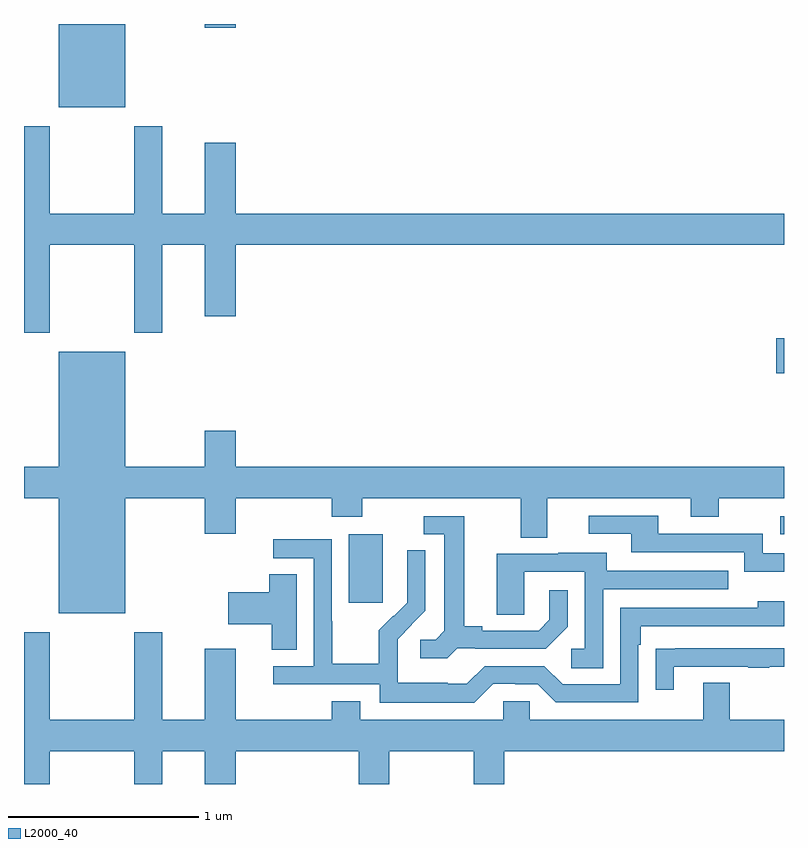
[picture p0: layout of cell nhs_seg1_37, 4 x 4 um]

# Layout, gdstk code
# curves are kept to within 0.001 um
import gdstk
lib = gdstk.Library(unit=1e-6, precision=1e-09)
def R(c, l, rs):  # rectangles x0, y0, x1, y1
    for r in rs: c.add(gdstk.rectangle(r[:2], r[2:], *l))
def P(c, l, *ps):  # polygons
    for p in ps: c.add(gdstk.Polygon(p, *l))
L2000_40 = (2000, 40)

nhs_seg1_37 = lib.new_cell('nhs_seg1_37')
R(nhs_seg1_37, L2000_40, [(112.709,579.153,112.888,579.514), (114.981,579.513,115,579.609), (114.96,580.361,115,580.544), (111.182,581.762,111.532,582.199), (111.95,582.18,112.114,582.199)])
P(nhs_seg1_37, L2000_40, [(111.135,581.036),(111.58,581.036),(111.58,580.575),(111.727,580.575),(111.727,581.036),(111.95,581.036),(111.95,580.662),(112.114,580.662),(112.114,581.036),(115,581.036),(115,581.2),(112.114,581.2),(112.114,581.575),(111.95,581.575),(111.95,581.2),(111.727,581.2),(111.727,581.662),(111.58,581.662),(111.58,581.2),(111.135,581.2),(111.135,581.662),(111,581.662),(111,580.575),(111.135,580.575)],
  [(111.532,579.704),(111.95,579.704),(111.95,579.516),(112.114,579.516),(112.114,579.704),(112.619,579.704),(112.619,579.605),(112.779,579.605),(112.779,579.704),(113.615,579.704),(113.615,579.496),(113.755,579.496),(113.755,579.704),(114.509,579.704),(114.509,579.605),(114.657,579.605),(114.657,579.704),(115,579.704),(115,579.868),(112.114,579.868),(112.114,580.057),(111.95,580.057),(111.95,579.868),(111.532,579.868),(111.532,580.474),(111.182,580.474),(111.182,579.868),(111,579.868),(111,579.704),(111.182,579.704),(111.182,579.098),(111.532,579.098)],
  [(115,579.414),(114.888,579.414),(114.888,579.516),(114.337,579.516),(114.337,579.612),(113.973,579.612),(113.973,579.516),(114.197,579.516),(114.197,579.42),(114.792,579.42),(114.792,579.317),(115,579.317)],
  [(113.28,578.913),(113.374,578.913),(113.374,578.91),(113.746,578.91),(113.862,579.026),(113.862,579.22),(113.765,579.22),(113.765,579.063),(113.708,579.006),(113.413,579.006),(113.413,579.029),(113.317,579.029),(113.317,579.609),(113.103,579.609),(113.103,579.513),(113.213,579.513),(113.213,579.005),(113.166,578.958),(113.085,578.958),(113.085,578.861),(113.228,578.861)],
  [(113.469,578.727),(113.585,578.727),(113.585,578.724),(113.703,578.724),(113.799,578.628),(114.234,578.628),(114.234,578.933),(114.247,578.933),(114.247,579.03),(115,579.03),(115,579.16),(114.863,579.16),(114.863,579.126),(114.138,579.126),(114.138,578.724),(113.835,578.724),(113.739,578.82),(113.424,578.82),(113.331,578.727),(113.231,578.727),(113.231,578.731),(112.968,578.731),(112.968,578.865),(112.966,578.865),(112.966,578.962),(113.112,579.11),(113.112,579.428),(113.016,579.428),(113.016,579.274),(113.018,579.274),(113.018,579.152),(112.947,579.081),(112.944,579.084),(112.867,579.007),(112.867,578.833),(112.623,578.833),(112.623,579.056),(112.62,579.056),(112.62,579.486),(112.311,579.486),(112.311,579.387),(112.524,579.387),(112.524,578.82),(112.311,578.82),(112.311,578.724),(112.872,578.724),(112.872,578.627),(113.369,578.627)],
  [(114.048,579.225),(114.707,579.225),(114.707,579.321),(114.067,579.321),(114.067,579.415),(113.813,579.415),(113.813,579.411),(113.489,579.411),(113.489,579.091),(113.634,579.091),(113.634,579.315),(113.952,579.315),(113.952,578.91),(113.88,578.91),(113.88,578.809),(114.048,578.809)],
  [(112.435,579.302),(112.292,579.302),(112.292,579.207),(112.074,579.207),(112.074,579.041),(112.304,579.041),(112.304,578.905),(112.435,578.905)],
  [(111.135,578.372),(111.58,578.372),(111.58,578.199),(111.727,578.199),(111.727,578.372),(111.95,578.372),(111.95,578.199),(112.114,578.199),(112.114,578.372),(112.763,578.372),(112.763,578.199),(112.923,578.199),(112.923,578.372),(113.368,578.372),(113.368,578.199),(113.528,578.199),(113.528,578.372),(115,578.372),(115,578.536),(114.715,578.536),(114.715,578.731),(114.575,578.731),(114.575,578.536),(113.661,578.536),(113.661,578.634),(113.523,578.634),(113.523,578.536),(112.771,578.536),(112.771,578.635),(112.619,578.635),(112.619,578.536),(112.114,578.536),(112.114,578.911),(111.95,578.911),(111.95,578.536),(111.727,578.536),(111.727,578.998),(111.58,578.998),(111.58,578.536),(111.135,578.536),(111.135,578.998),(111,578.998),(111,578.199),(111.135,578.199)],
  [(114.421,578.817),(114.811,578.817),(114.811,578.812),(114.923,578.812),(114.923,578.817),(115,578.817),(115,578.913),(114.427,578.913),(114.427,578.912),(114.325,578.912),(114.325,578.694),(114.421,578.694)])

lib.write_gds('nhs_seg1_37.gds')
